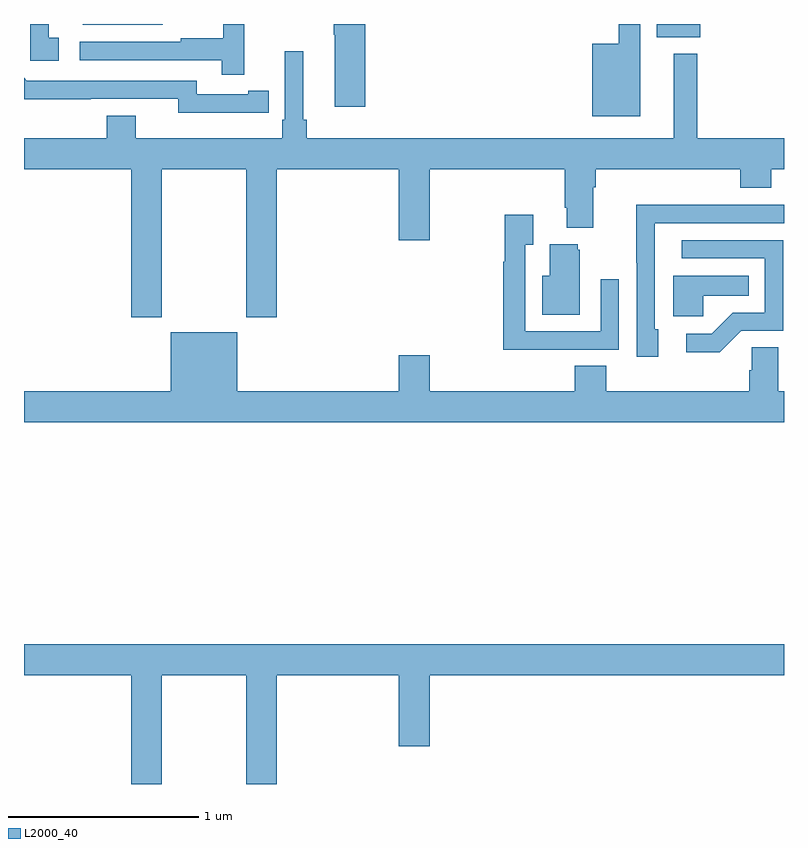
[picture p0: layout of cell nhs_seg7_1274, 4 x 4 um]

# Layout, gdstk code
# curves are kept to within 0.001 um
import gdstk
lib = gdstk.Library(unit=1e-6, precision=1e-09)
def R(c, l, rs):  # rectangles x0, y0, x1, y1
    for r in rs: c.add(gdstk.rectangle(r[:2], r[2:], *l))
def P(c, l, *ps):  # polygons
    for p in ps: c.add(gdstk.Polygon(p, *l))
L2000_40 = (2000, 40)

nhs_seg7_1274 = lib.new_cell('nhs_seg7_1274')
R(nhs_seg7_1274, L2000_40, [(202.331,1047.929,202.558,1048), (199.31,1047.995,199.729,1048)])
P(nhs_seg7_1274, L2000_40, [(200.795,1048),(200.629,1048),(200.629,1047.943),(200.636,1047.943),(200.636,1047.564),(200.795,1047.564)],
  [(199.183,1047.927),(199.13,1047.927),(199.13,1048),(199.032,1048),(199.032,1047.807),(199.183,1047.807)],
  [(200.159,1048),(200.049,1048),(200.049,1047.926),(199.825,1047.926),(199.825,1047.906),(199.293,1047.906),(199.293,1047.81),(200.041,1047.81),(200.041,1047.732),(200.159,1047.732)],
  [(202.243,1048),(202.129,1048),(202.129,1047.895),(201.992,1047.895),(201.992,1047.515),(202.243,1047.515)],
  [(199.725,1047.236),(200.17,1047.236),(200.17,1046.457),(200.33,1046.457),(200.33,1047.236),(200.972,1047.236),(200.972,1046.862),(201.136,1046.862),(201.136,1047.236),(201.845,1047.236),(201.845,1047.034),(201.857,1047.034),(201.857,1046.927),(201.997,1046.927),(201.997,1047.14),(202.01,1047.14),(202.01,1047.236),(202.769,1047.236),(202.769,1047.137),(202.934,1047.137),(202.934,1047.236),(203,1047.236),(203,1047.4),(202.543,1047.4),(202.543,1047.844),(202.421,1047.844),(202.421,1047.4),(200.489,1047.4),(200.489,1047.496),(200.47,1047.496),(200.47,1047.856),(200.373,1047.856),(200.373,1047.496),(200.36,1047.496),(200.36,1047.4),(199.588,1047.4),(199.588,1047.517),(199.436,1047.517),(199.436,1047.4),(199,1047.4),(199,1047.236),(199.565,1047.236),(199.565,1046.457),(199.725,1046.457)],
  [(200.18,1047.534),(200.288,1047.534),(200.288,1047.65),(200.18,1047.65),(200.18,1047.63),(199.908,1047.63),(199.908,1047.702),(199.014,1047.702),(199,1047.716),(199,1047.605),(199.812,1047.606),(199.812,1047.533)],
  [(202.339,1046.394),(202.32,1046.394),(202.32,1046.698),(202.321,1046.698),(202.321,1046.952),(203,1046.952),(203,1047.048),(202.685,1047.048),(202.685,1047.05),(202.222,1047.05),(202.222,1046.743),(202.224,1046.743),(202.224,1046.25),(202.339,1046.25)],
  [(201.815,1046.286),(202.131,1046.286),(202.131,1046.656),(202.035,1046.656),(202.035,1046.382),(201.639,1046.382),(201.639,1046.839),(201.679,1046.839),(201.679,1046.995),(201.531,1046.995),(201.531,1046.75),(201.523,1046.75),(201.523,1046.285),(201.815,1046.285)],
  [(202.776,1046.385),(202.995,1046.385),(202.995,1046.862),(202.461,1046.862),(202.461,1046.766),(202.899,1046.766),(202.899,1046.481),(202.73,1046.481),(202.619,1046.37),(202.485,1046.37),(202.485,1046.273),(202.663,1046.273)],
  [(201.925,1046.811),(201.914,1046.811),(201.914,1046.842),(201.767,1046.842),(201.767,1046.674),(201.728,1046.674),(201.728,1046.471),(201.925,1046.471)],
  [(202.575,1046.57),(202.814,1046.57),(202.814,1046.674),(202.418,1046.674),(202.418,1046.462),(202.575,1046.462)],
  [(203,1046.068),(202.969,1046.068),(202.969,1046.3),(202.83,1046.3),(202.83,1046.177),(202.817,1046.177),(202.817,1046.068),(202.064,1046.068),(202.064,1046.201),(201.899,1046.201),(201.899,1046.068),(201.136,1046.068),(201.136,1046.257),(200.972,1046.257),(200.972,1046.068),(200.122,1046.068),(200.122,1046.377),(199.772,1046.377),(199.772,1046.068),(199,1046.068),(199,1045.904),(203,1045.904)],
  [(199.725,1044.572),(200.17,1044.572),(200.17,1044),(200.33,1044),(200.33,1044.572),(200.972,1044.572),(200.972,1044.198),(201.136,1044.198),(201.136,1044.572),(203,1044.572),(203,1044.736),(199,1044.736),(199,1044.572),(199.565,1044.572),(199.565,1044),(199.725,1044)])

lib.write_gds('nhs_seg7_1274.gds')
